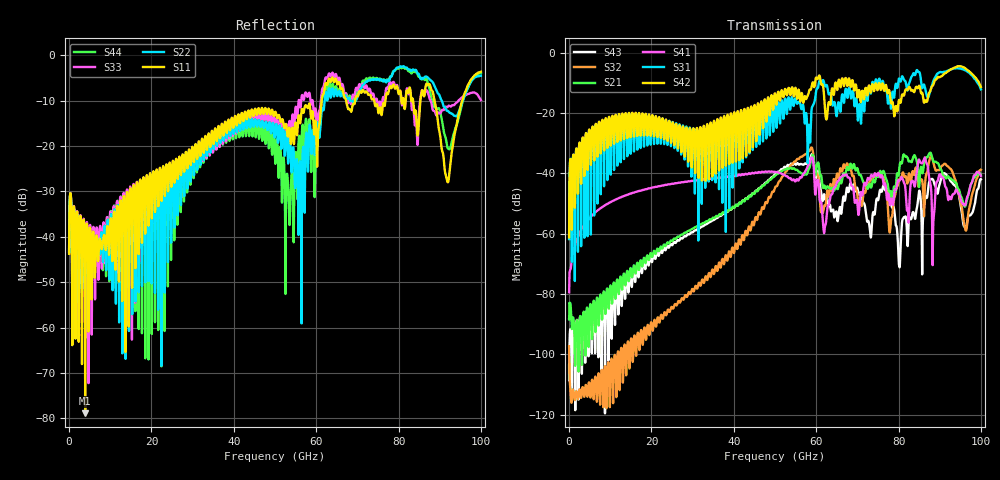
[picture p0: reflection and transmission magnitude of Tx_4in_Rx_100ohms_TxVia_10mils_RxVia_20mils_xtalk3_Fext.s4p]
! Info: Touchstone file created by Circ.  Input file=Tx_4in_Rx_100ohms_TxVia_10mils_RxVia_20mils.circ
# Hz S RI R 50
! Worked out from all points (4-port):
!   10000 points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, 10 MHz to 100 GHz, reference 50 ohm
!   strongest paths, dB at 10 MHz, 25.01 GHz, 50.01 GHz, 75.01 GHz, 100 GHz:
!     S42: -61.2, -24.3, -13.5, -11.6, -11.4
!     S31: -61.8, -23.9, -17.1, -10.6, -12.1
!     S41: -79.4, -43.4, -39.5, -39.9, -40.8
!     S21: -88.4, -62.5, -40.8, -41.2, -40.5
!     S32: -97.3, -84.4, -44.7, -40.4, -38.8
!     S43: -103.6, -63.8, -40.3, -48.9, -42.0
!   lowest |S11| = -78.9 dB at 3.91 GHz (marker M1), VSWR 1.00, Z = 50 + j0.00744 ohm
!   |S11| at or under -10 dB: start of sweep to 61.32 GHz; 74.1 GHz to 76.81 GHz (2.715 GHz wide, 3.6 % of centre); 88.73 GHz to 95.52 GHz (6.783 GHz wide, 7.36 % of centre) (the widest 3 of 8)
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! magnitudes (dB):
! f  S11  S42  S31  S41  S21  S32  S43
! 10 MHz  -43.7  -61.2  -61.8  -79.4  -88.4  -97.3  -103.6
! 3.91 GHz  -78.9  -29.6  -29.9  -56.6  -98.3  -111.2  -102.8
! 29.17 GHz  -20.8  -26.9  -25.7  -42.6  -59.0  -79.4  -60.2
! 58.62 GHz  -12.5  -12.3  -26.8  -35.6  -36.7  -31.9  -34.8
! 80.18 GHz  -8.4  -15.7  -8.6  -42.4  -38.7  -42.1  -70.7
! 91.86 GHz  -27.9  -6.3  -6.0  -46.6  -41.1  -37.6  -40.9
! 100 GHz  -3.7  -11.4  -12.1  -40.8  -40.5  -38.8  -42.0
